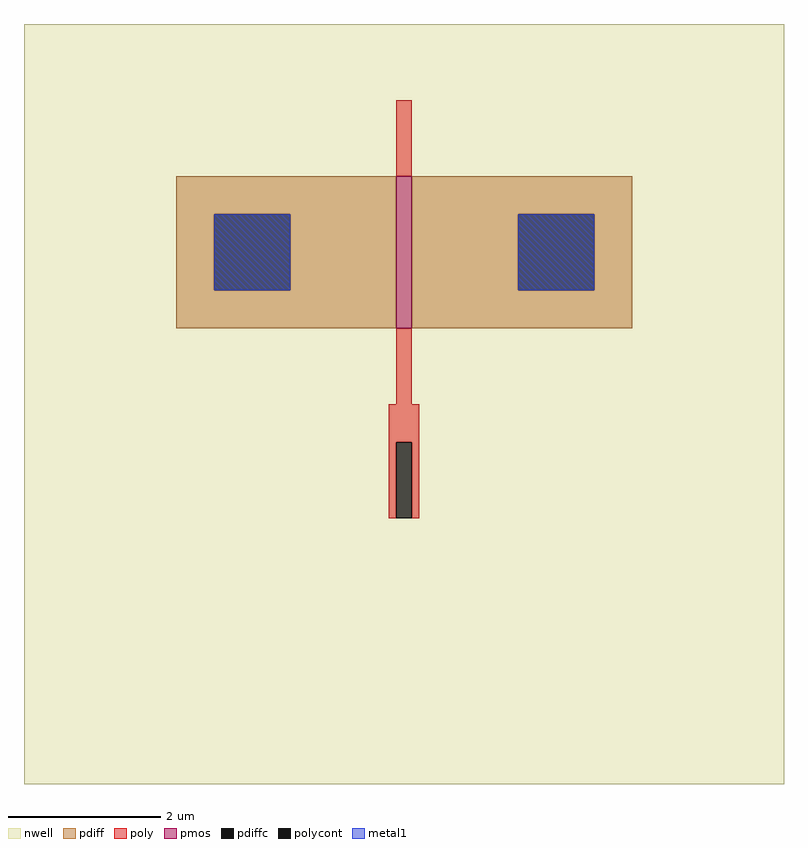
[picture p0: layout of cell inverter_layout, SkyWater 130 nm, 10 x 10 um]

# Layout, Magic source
magic
tech sky130A
<< nwell >>
rect 0 0 1000 1000
<< pmos >>
rect 490 600 510 800
<< pdiff >>
rect 200 750 490 800
rect 200 650 250 750
rect 350 650 490 750
rect 200 600 490 650
rect 510 750 800 800
rect 510 650 650 750
rect 750 650 800 750
rect 510 600 800 650
<< pdiffc >>
rect 250 650 350 750
rect 650 650 750 750
<< poly >>
rect 490 800 510 900
rect 490 500 510 600
rect 480 450 520 500
rect 480 350 490 450
rect 510 350 520 450
<< polycont >>
rect 490 350 510 450
<< metal1 >>
rect 250 650 350 750
rect 650 650 750 750
<< end >>
